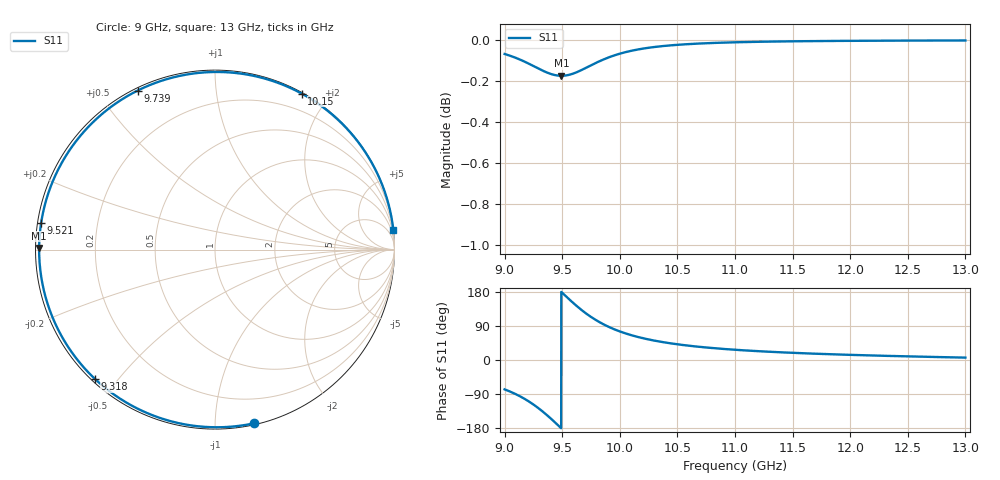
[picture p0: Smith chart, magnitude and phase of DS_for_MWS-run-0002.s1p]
! TOUCHSTONE file generated by CST DESIGN STUDIO
! Date and time: Tue Feb  4 15:55:05 2025
! Project name: C:\Work\MatlabApps\UnitCellOptimizationMatlab\CST\unitcell.cst
! Tree item: Tasks\Sweep1\SPara1\S-Parameters
! Header version: 2024
! Port assignment regex: !\s*Touchstone port\s*([0-9]+)\s*=\s*(CST MWS port|CST DES external port|CST DES block port)\s*(.+)\s* \(\"(.*)\"\)(\s*mode\s*([0-9]+))?.*
! Touchstone port assignment:
! Touchstone port 1 = CST DES external port 1 ("")
# GHz S MA R 50
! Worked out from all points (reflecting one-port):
!   4001 points, 9 GHz to 13 GHz, reference 50 ohm
!   lowest |S11| = -0.2 dB at 9.493 GHz (marker M1), VSWR 98.72, Z = 0.506 + j0.242 ohm
!   phase of S11 starts at -77 deg and turns -276 deg over the sweep
!   S11 on the Smith chart (normalised r, x): 9 GHz: 0.01, -1.25; 9.318 GHz: 0.01, -0.44; 9.521 GHz: 0.01, +0.08; 9.739 GHz: 0.01, +0.63; 10.15 GHz: 0.01, +1.70; 13 GHz: 0, +18
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9  0.992 -77.5
9.082  0.9902 -88.0
9.182  0.9875 -104.1
9.253  0.9852 -118.1
9.318  0.9832 -132.9
9.364  0.9818 -144.5
9.413  0.9807 -157.8
9.454  0.9801 -169.3
9.493  0.9799 179.4
9.5  0.98 177.4
9.521  0.98 171.4
9.574  0.9807 156.4
9.634  0.9821 140.4
9.686  0.9837 127.7
9.739  0.9854 115.9
9.792  0.987 105.5
9.851  0.9887 95.4
9.925  0.9906 84.5
10  0.9921 75.4
10.155  0.9945 60.9
10.312  0.9959 50.5
10.5  0.9971 41.5
10.722  0.9979 33.8
11  0.9985 27.0
11.5  0.999 18.9
12  0.9993 13.6
12.5  0.9994 9.6
13  0.9995 6.3
